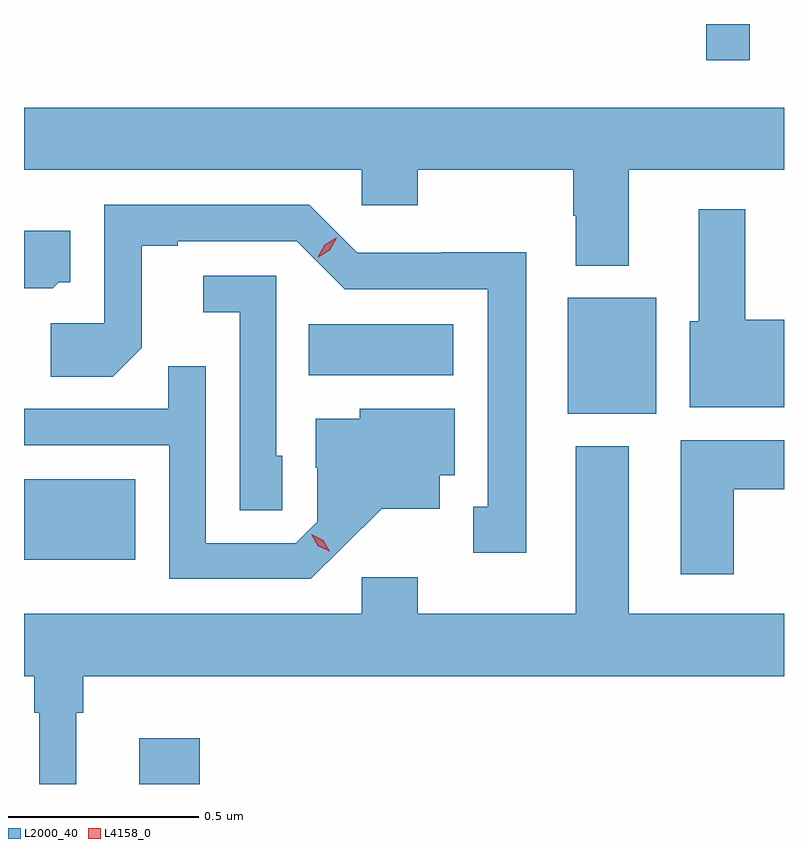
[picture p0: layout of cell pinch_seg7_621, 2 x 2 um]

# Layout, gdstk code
import gdstk
lib = gdstk.Library(unit=1e-6, precision=1e-09)
def R(c, l, rs):  # rectangles x0, y0, x1, y1
    for r in rs: c.add(gdstk.rectangle(r[:2], r[2:], *l))
def P(c, l, *ps):  # polygons
    for p in ps: c.add(gdstk.Polygon(p, *l))
L2000_40 = (2000, 40)
L4158_0 = (4158, 0)

pinch_seg7_621 = lib.new_cell('pinch_seg7_621')
R(pinch_seg7_621, L2000_40, [(182.654,1049.616,182.813,1049.737), (182.351,1050.206,182.644,1050.418), (183.782,1050.59,184.015,1050.895), (183.1,1050.692,183.481,1050.826), (184.147,1051.521,184.261,1051.616)])
P(pinch_seg7_621, L2000_40, [(182.351,1051.232),(183.24,1051.232),(183.24,1051.139),(183.387,1051.139),(183.387,1051.232),(183.796,1051.232),(183.796,1051.111),(183.803,1051.111),(183.803,1050.98),(183.943,1050.98),(183.943,1051.232),(184.351,1051.232),(184.351,1051.396),(182.351,1051.396)],
  [(183.673,1051.016),(183.45,1051.016),(183.45,1051.014),(183.228,1051.014),(183.102,1051.14),(182.562,1051.14),(182.562,1050.828),(182.421,1050.828),(182.421,1050.688),(182.585,1050.688),(182.661,1050.764),(182.661,1051.032),(182.755,1051.032),(182.755,1051.044),(183.069,1051.044),(183.195,1050.918),(183.572,1050.918),(183.572,1050.345),(183.533,1050.345),(183.533,1050.225),(183.673,1050.225)],
  [(184.351,1050.838),(184.249,1050.838),(184.249,1051.129),(184.127,1051.129),(184.127,1050.834),(184.103,1050.834),(184.103,1050.608),(184.351,1050.608)],
  [(182.442,1050.936),(182.473,1050.936),(182.473,1051.072),(182.351,1051.072),(182.351,1050.92),(182.426,1050.92)],
  [(183.03,1050.48),(183.015,1050.48),(183.015,1050.954),(182.823,1050.954),(182.823,1050.857),(182.919,1050.857),(182.919,1050.337),(183.03,1050.337)],
  [(183.19,1050.239),(183.293,1050.341),(183.445,1050.341),(183.445,1050.428),(183.484,1050.428),(183.484,1050.604),(183.234,1050.604),(183.234,1050.577),(183.119,1050.577),(183.119,1050.448),(183.123,1050.448),(183.123,1050.306),(183.066,1050.249),(182.829,1050.249),(182.829,1050.716),(182.731,1050.716),(182.731,1050.603),(182.351,1050.603),(182.351,1050.507),(182.733,1050.507),(182.733,1050.156),(183.106,1050.156)],
  [(184.219,1050.392),(184.351,1050.392),(184.351,1050.52),(184.079,1050.52),(184.079,1050.168),(184.219,1050.168)],
  [(182.488,1049.804),(182.507,1049.804),(182.507,1049.9),(184.351,1049.9),(184.351,1050.064),(183.943,1050.064),(183.943,1050.505),(183.803,1050.505),(183.803,1050.064),(183.387,1050.064),(183.387,1050.16),(183.24,1050.16),(183.24,1050.064),(182.351,1050.064),(182.351,1049.9),(182.378,1049.9),(182.378,1049.804),(182.391,1049.804),(182.391,1049.616),(182.488,1049.616)])
P(pinch_seg7_621, L4158_0, [(183.124,1051.002),(183.124,1051.002),(183.142,1051.035),(183.173,1051.054),(183.174,1051.054),(183.174,1051.054),(183.156,1051.021),(183.125,1051.002)],
  [(183.154,1050.228),(183.124,1050.243),(183.107,1050.273),(183.107,1050.273),(183.107,1050.273),(183.138,1050.258),(183.155,1050.228),(183.155,1050.228)])

lib.write_gds('pinch_seg7_621.gds')
